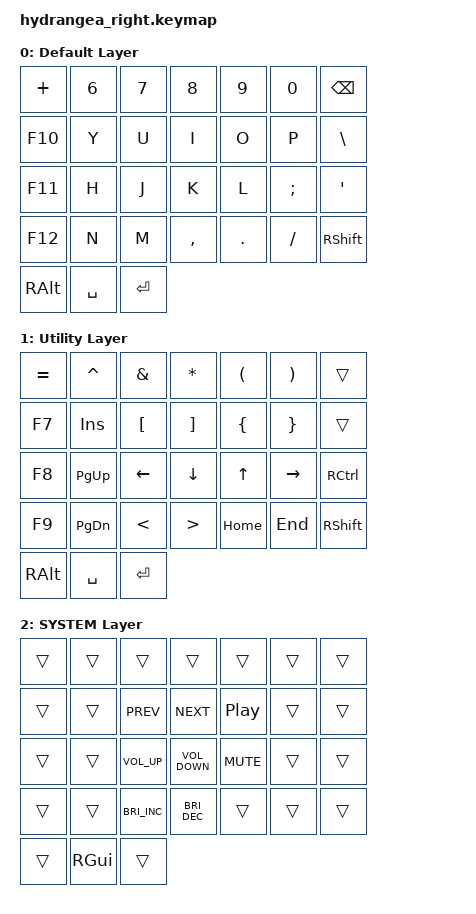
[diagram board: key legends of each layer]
/*
 * Copyright (c) 2020 The ZMK Contributors
 *
 * SPDX-License-Identifier: MIT
 */

#include <behaviors.dtsi>
#include <dt-bindings/zmk/keys.h>
#include <dt-bindings/zmk/bt.h>

/ {
      keymap {
            compatible = "zmk,keymap";
            default_layer {
                  display-name = "Default Layer";
                  bindings = <
//    -------------------------------------------------------------------------------------
//    | +         |  6        |  7        |  8        |  9        |  0        | BSPC      |
//    | F10       |  Y        |  U        |  I        |  O        |  P        |  \        |
//    | F11       |  H        |  J        |  K        |  L        |  ;        |  '        |
//    | F12       |  N        |  M        |  ,        |  .        |  /        | R_SHIFT   |
//    | R_ALT     | SPC       |  ENT      |
//    -------------------------------------------------------------------------------------
      &kp PLUS    &kp N6      &kp N7      &kp N8      &kp N9      &kp N0      &kp BSPC
      &kp F10     &kp Y       &kp U       &kp I       &kp O       &kp P       &kp BSLH
      &kp F11     &kp H       &kp J       &kp K       &kp L       &kp SEMI    &kp APOS
      &kp F12     &kp N       &kp M       &kp COMMA   &kp DOT     &kp FSLH    &kp RSHFT
      &kp RALT    &kp SPACE   &kp RET
                  >;
            };
            lower_layer {
                  display-name = "Utility Layer";
                  bindings = <
//    -------------------------------------------------------------------------------------
//    | =         | ^         | &         | *         | (         | )         |           |
//    | F07       | INS       | [         | ]         | {         | }         |           |
//    | F08       | PAGE_UP   | LEFT      | DOWN      | UP        | RIGHT     | R_CTRL    |
//    | F09       | PAGE_DOWNs| <         | >         | HOME      | END       | R_SHIFT   |
//    | R_ALT     | R_GUI     |           |
//    -------------------------------------------------------------------------------------
      &kp EQUAL    &kp CARET        &kp AMPS    &kp ASTRK   &kp LPAR    &kp RPAR   &trans
      &kp F7       &kp INS          &kp LBKT    &kp RBKT    &kp LBRC    &kp RBRC   &trans
      &kp F8       &kp PAGE_UP      &kp LEFT    &kp DOWN    &kp UP      &kp RIGHT  &kp RCTRL
      &kp F9       &kp PAGE_DOWN    &kp LT      &kp GT      &kp HOME    &kp END    &kp RSHFT
      &kp RALT     &kp SPACE        &kp RET
                  >;
            };
            raise_layer {
                  display-name = "SYSTEM Layer";
                  bindings = <
//    ------------------------------------------------------------------------------------
//               |           |           |           |           |           |           |
//               |           | FWD       | BWD       | PLAY      |           |           |
//               |           | VOL_UP    | VOL_DOWN  | MUTE      |           |           |
//               |           | SCRN_UP   | SCRN_DOWN |           |           |           |
//               | R_GUI     |           |
//    ------------------------------------------------------------------------------------
      &trans      &trans      &trans                  &trans                  &trans      &trans      &trans      
      &trans      &trans      &kp C_PREV              &kp C_NEXT              &kp C_PP    &trans      &trans      
      &trans      &trans      &kp C_VOLUME_UP         &kp C_VOLUME_DOWN       &kp C_MUTE  &trans      &trans
      &trans      &trans      &kp C_BRIGHTNESS_INC    &kp C_BRIGHTNESS_DEC    &trans      &trans      &trans      
      &trans      &kp RGUI    &trans
                  >;
            };
      };
};
